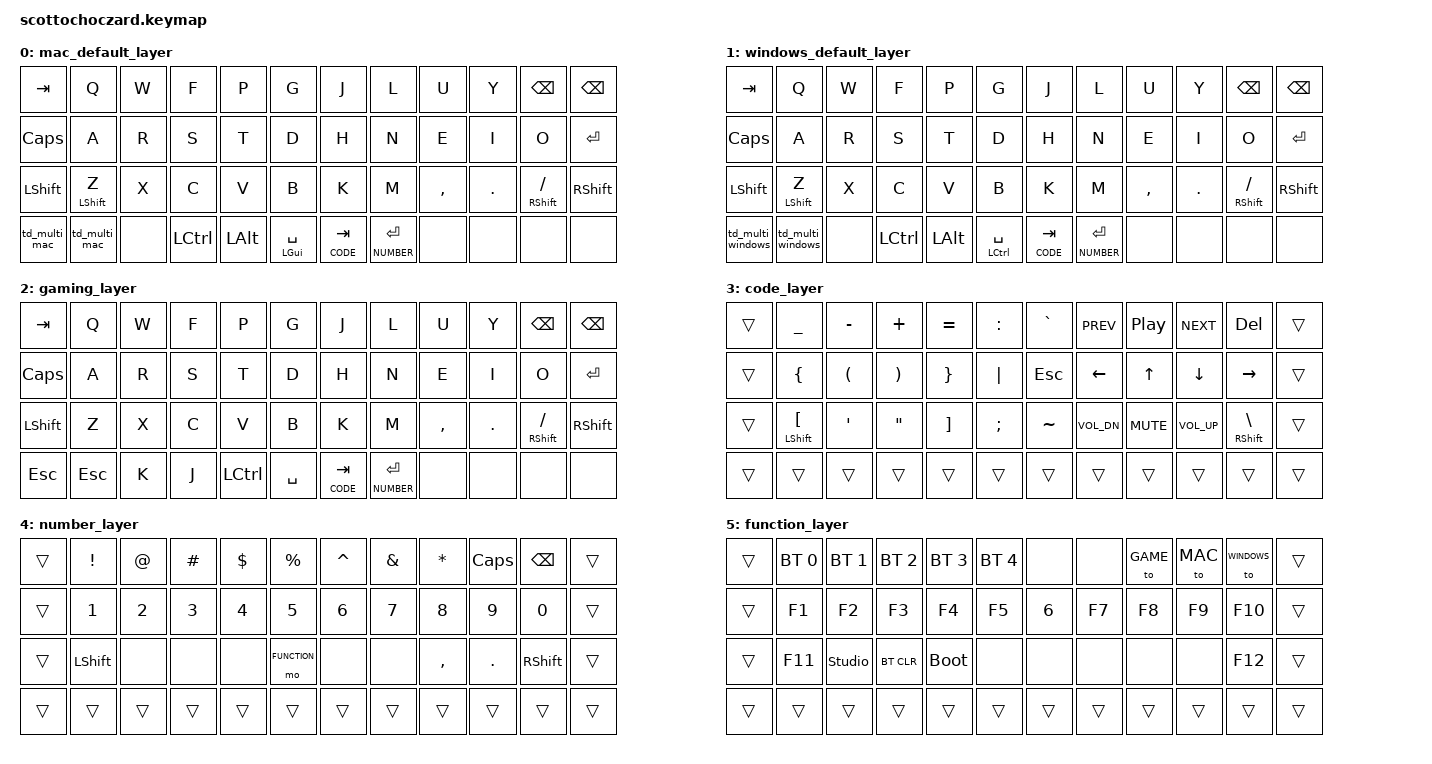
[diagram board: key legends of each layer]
#include <behaviors.dtsi>
#include <dt-bindings/zmk/keys.h>
#include <dt-bindings/zmk/bt.h>

#define MAC 0
#define WINDOWS 1
#define GAME 2
#define CODE 3
#define NUMBER 4
#define FUNCTION 5

// Behavior Overrides
&lt {
    tapping-term-ms = <200>;
    flavor = "hold-preferred";
};

/ {
    macros {
        spotlight: spotlight {
            label = "spotlight";
            compatible = "zmk,behavior-macro";
            #binding-cells = <0>;
            bindings = <&macro_press &kp LGUI>, <&macro_tap &kp SPACE>, <&macro_release &kp LGUI>; 
        };

        // Emoji
        mac_emoji: mac_emoji {
            label = "mac_emoji";
            compatible = "zmk,behavior-macro";
            #binding-cells = <0>;
            bindings = <&macro_press &kp LGUI>, <&macro_press &kp LCTRL>, <&macro_tap &kp SPACE>, <&macro_release &kp LCTRL>, <&macro_release &kp LGUI>; 
        };

        windows_emoji: windows_emoji {
            label = "windows_emoji";
            compatible = "zmk,behavior-macro";
            #binding-cells = <0>;
            bindings = <&macro_press &kp LGUI>, <&macro_tap &kp DOT>, <&macro_release &kp LGUI>; 
        };
    };

    behaviors {
        bm: bottom_row_mods {
            compatible = "zmk,behavior-hold-tap";
            label = "BOTTOM_ROW_MODS";
            #binding-cells = <2>;
            tapping-term-ms = <135>;
            quick-tap-ms = <0>;
            flavor = "tap-preferred";
            bindings = <&kp>, <&kp>;
        };

        cm: code_row_mods {
            compatible = "zmk,behavior-hold-tap";
            label = "CODE_ROW_MODS";
            #binding-cells = <2>;
            tapping-term-ms = <200>;
            quick-tap-ms = <0>;
            flavor = "tap-preferred";
            bindings = <&kp>, <&kp>;
            retro-tap;
        };

        sm: space_mod {
            compatible = "zmk,behavior-hold-tap";
            label = "SPACE_MOD";
            #binding-cells = <2>;
            flavor = "balanced";
            tapping-term-ms = <200>;
            quick-tap-ms = <125>;
            bindings = <&kp>, <&kp>;
        };

        td_multi_mac: tap_dance_multi_mac {
            compatible = "zmk,behavior-tap-dance";
            label = "TAP_DANCE_MULTI_MAC";
            #binding-cells = <0>;
            tapping-term-ms = <200>;
            bindings = <&sm ESC LALT>, <&spotlight>, <&kp LCTRL>, <&mac_emoji>;
        };

        td_multi_windows: tap_dance_multi_windows {
            compatible = "zmk,behavior-tap-dance";
            label = "TAP_DANCE_MULTI_WINDOWS";
            #binding-cells = <0>;
            tapping-term-ms = <200>;
            bindings = <&sm ESC LALT>, <&kp LGUI>, <&windows_emoji>;
        };
    };
    
    keymap {
        compatible = "zmk,keymap";

        mac_default_layer {
            bindings = <
                &kp TAB       &kp Q         &kp W &kp F     &kp P    &kp G          &kp J        &kp L            &kp U     &kp Y   &kp BSPC       &kp BSPC
                &kp CAPS      &kp A         &kp R &kp S     &kp T    &kp D          &kp H        &kp N            &kp E     &kp I   &kp O          &kp ENTER
                &kp LSHFT     &bm LSHFT Z   &kp X &kp C     &kp V    &kp B          &kp K        &kp M            &kp COMMA &kp DOT &bm RSHFT FSLH &kp RSHFT
                &td_multi_mac &td_multi_mac &none &kp LCTRL &kp LALT &sm LGUI SPACE &lt CODE TAB &lt NUMBER ENTER &none     &none   &none          &none
            >;
        };

        windows_default_layer {
            bindings = <
                &kp TAB           &kp Q             &kp W &kp F     &kp P    &kp G           &kp J        &kp L            &kp U     &kp Y   &kp BSPC       &kp BSPC
                &kp CAPS          &kp A             &kp R &kp S     &kp T    &kp D           &kp H        &kp N            &kp E     &kp I   &kp O          &kp ENTER
                &kp LSHFT         &bm LSHFT Z       &kp X &kp C     &kp V    &kp B           &kp K        &kp M            &kp COMMA &kp DOT &bm RSHFT FSLH &kp RSHFT
                &td_multi_windows &td_multi_windows &none &kp LCTRL &kp LALT &sm LCTRL SPACE &lt CODE TAB &lt NUMBER ENTER &none     &none   &none          &none
            >;
        };

        gaming_layer {
            bindings = <
                &kp TAB   &kp Q   &kp W &kp F  &kp P     &kp G     &kp J        &kp L            &kp U     &kp Y   &kp BSPC       &kp BSPC
                &kp CAPS  &kp A   &kp R &kp S  &kp T     &kp D     &kp H        &kp N            &kp E     &kp I   &kp O          &kp ENTER
                &kp LSHFT &kp Z   &kp X &kp C  &kp V     &kp B     &kp K        &kp M            &kp COMMA &kp DOT &bm RSHFT FSLH &kp RSHFT
                &kp ESC   &kp ESC &kp K &kp J  &kp LCTRL &kp SPACE &lt CODE TAB &lt NUMBER ENTER &none     &none   &none          &none
            >;
        };

        code_layer {
            bindings = <
                &trans &kp UNDER      &kp MINUS &kp PLUS &kp EQUAL &kp COLON &kp GRAVE &kp C_PREV   &kp C_PP   &kp C_NEXT   &kp DEL        &trans
                &trans &kp LBRC       &kp LPAR  &kp RPAR &kp RBRC  &kp PIPE  &kp ESC   &kp LEFT     &kp UP     &kp DOWN     &kp RIGHT      &trans
                &trans &cm LSHFT LBKT &kp APOS  &kp DQT  &kp RBKT  &kp SEMI  &kp TILDE &kp C_VOL_DN &kp C_MUTE &kp C_VOL_UP &cm RSHFT BSLH &trans
                &trans &trans         &trans    &trans   &trans    &trans    &trans    &trans       &trans     &trans       &trans         &trans
            >;
        };

        number_layer {
            bindings = < 
                &trans &kp EXCL  &kp AT &kp HASH &kp DLLR &kp PRCNT    &kp CARET &kp AMPS &kp ASTERISK &kp CAPS &kp BSPC  &trans
                &trans &kp N1    &kp N2 &kp N3   &kp N4   &kp N5       &kp N6    &kp N7   &kp N8       &kp N9   &kp N0    &trans
                &trans &kp LSHFT &none  &none    &none    &mo FUNCTION &none     &none    &kp COMMA    &kp DOT  &kp RSHFT &trans
                &trans &trans    &trans &trans   &trans   &trans       &trans    &trans   &trans       &trans   &trans    &trans
            >;
        };

        function_layer {
            bindings =<
                &trans &bt BT_SEL 0 &bt BT_SEL 1   &bt BT_SEL 2 &bt BT_SEL 3 &bt BT_SEL 4  &none  &none  &to GAME  &to MAC  &to WINDOWS &trans
                &trans &kp F1       &kp F2         &kp F3       &kp F4       &kp F5        &kp 6  &kp F7 &kp F8 &kp F9        &kp F10     &trans
                &trans &kp F11      &studio_unlock &bt BT_CLR   &bootloader  &none         &none  &none  &none  &none         &kp F12     &trans
                &trans &trans       &trans         &trans       &trans       &trans        &trans &trans &trans &trans        &trans      &trans
            >;
        };
    };
};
